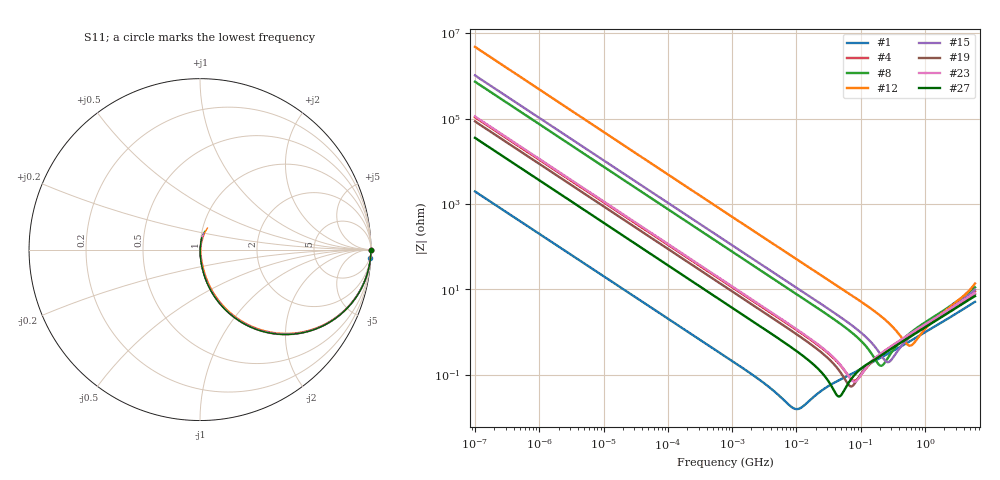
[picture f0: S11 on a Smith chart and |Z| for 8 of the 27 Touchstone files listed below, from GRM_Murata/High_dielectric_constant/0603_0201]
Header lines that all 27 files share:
!These Parameters are Measured in Series Mode Connection
!Data Generated on Mar 30, 2021
!  o--ll--o
!Port1  Port2
!  o------o
!Operation Temp=25[degC], DC Bias Voltage=0[V]
!Freq. Start=100[Hz] Stop=6[GHz] 401[Steps]
# Hz S RI R 50
!Freq.(Hz) S11(Real) S11(Imag) S21(Real) S21(Imag) S12(Real) S12(Imag) S22(Real) S22(Imag)
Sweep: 100 Hz to 6 GHz
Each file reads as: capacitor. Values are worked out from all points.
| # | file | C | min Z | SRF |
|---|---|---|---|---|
| 1 | GRM032R60G105ME05.s2p | 802 nF | 15.7 mohm | 10.49 MHz |
| 2 | GRM032R60J105ME05.s2p | 798 nF | 15.4 mohm | 10.5 MHz |
| 3 | GRM033B10J103KA01.s2p | 9.61 nF | 63.4 mohm | 99.4 MHz |
| 4 | GRM033B10J153ME01.s2p | 14.6 nF | 72.4 mohm | 80.47 MHz |
| 5 | GRM033B10J223KE01.s2p | 22 nF | 43.1 mohm | 65.28 MHz |
| 6 | GRM033B10J472KA01.s2p | 4.52 nF | 102 mohm | 143.6 MHz |
| 7 | GRM033B10J682KA01.s2p | 6.78 nF | 73.5 mohm | 120.5 MHz |
| 8 | GRM033B11A222KA01.s2p | 2.14 nF | 162 mohm | 208.3 MHz |
| 9 | GRM033B11A332KA01.s2p | 3.21 nF | 121 mohm | 179.9 MHz |
| 10 | GRM033B11C101KA01.s2p | 103 pF | 958 mohm | 1.057 GHz |
| 11 | GRM033B11C102KA01.s2p | 1 nF | 234 mohm | 317.1 MHz |
| 12 | GRM033B11C331KA01.s2p | 328 pF | 481 mohm | 585.2 MHz |
| 13 | GRM033B11C471KA01.s2p | 489 pF | 386 mohm | 457.3 MHz |
| 14 | GRM033B11C681KA01.s2p | 672 pF | 364 mohm | 387 MHz |
| 15 | GRM033B11E152KA01.s2p | 1.53 nF | 197 mohm | 266.4 MHz |
| 16 | GRM033B11E221KA01.s2p | 230 pF | 545 mohm | 704.5 MHz |
| 17 | GRM033B30J224ME15.s2p | 177 nF | 25.8 mohm | 23.37 MHz |
| 18 | GRM033B30J473KE18.s2p | 46.6 nF | 31.4 mohm | 44.57 MHz |
| 19 | GRM033B31A183KE84.s2p | 18.3 nF | 53 mohm | 71.86 MHz |
| 20 | GRM033B31A333ME84.s2p | 30.7 nF | 39.4 mohm | 56.44 MHz |
| 21 | GRM033B31A393ME84.s2p | 33.8 nF | 61.2 mohm | 53.82 MHz |
| 22 | GRM033B31C104ME84.s2p | 97.3 nF | 31.6 mohm | 31.56 MHz |
| 23 | GRM033B31C153ME84.s2p | 14 nF | 68.8 mohm | 80.59 MHz |
| 24 | GRM033B31C223ME84.s2p | 21.1 nF | 45.3 mohm | 67.81 MHz |
| 25 | GRM033B31C332KA87.s2p | 3.3 nF | 113 mohm | 176.5 MHz |
| 26 | GRM033B31C333KE84.s2p | 29.2 nF | 37.2 mohm | 57.4 MHz |
| 27 | GRM033B31C473ME84.s2p | 44.4 nF | 30.8 mohm | 46.59 MHz |
